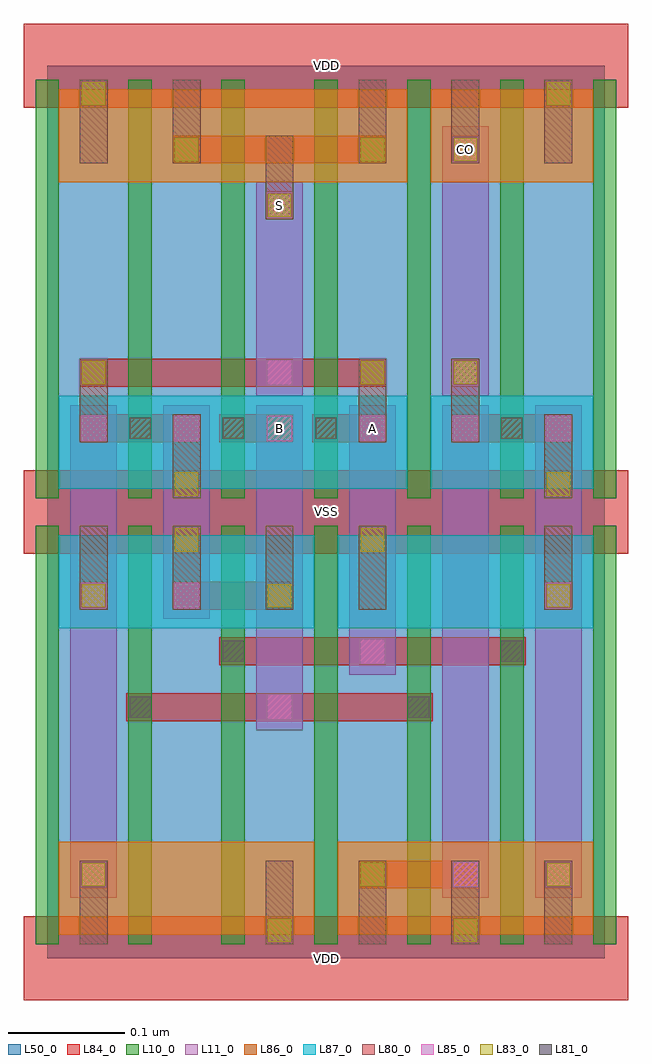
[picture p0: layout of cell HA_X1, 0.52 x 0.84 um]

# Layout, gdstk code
import gdstk
lib = gdstk.Library(unit=1e-6, precision=1e-09)
def R(c, l, rs):  # rectangles x0, y0, x1, y1
    for r in rs: c.add(gdstk.rectangle(r[:2], r[2:], *l))
def A(c, l, x, y, w, h, nx, ny, dx, dy):  # array of equal rectangles
    R(c, l, [(x+i*dx, y+j*dy, x+i*dx+w, y+j*dy+h) for i in range(nx) for j in range(ny)])
L10_0 = (10, 0)
L11_0 = (11, 0)
L50_0 = (50, 0)
L80_0 = (80, 0)
L81_0 = (81, 0)
L83_0 = (83, 0)
L84_0 = (84, 0)
L85_0 = (85, 0)
L86_0 = (86, 0)
L87_0 = (87, 0)

ha_x1 = lib.new_cell('HA_X1')
A(ha_x1, L10_0, -0.01, 0.012, 0.02, 0.36, 7, 2, 0.08, 0.384)
R(ha_x1, L11_0, [(0.02,0.052,0.06,0.476), (0.34,0.052,0.38,0.476), (0.42,0.052,0.46,0.476), (0.18,0.196,0.22,0.476), (0.26,0.244,0.3,0.476), (0.1,0.292,0.14,0.476), (0.18,0.484,0.22,0.668), (0.34,0.484,0.38,0.716)])
R(ha_x1, L50_0, [(0,0,0.48,0.768)])
A(ha_x1, L80_0, 0.188, 0.012, 0.024, 0.072, 4, 1, 0.08, 0)
A(ha_x1, L80_0, 0.028, 0.3, 0.024, 0.072, 4, 1, 0.08, 0)
A(ha_x1, L80_0, 0.268, 0.684, 0.024, 0.072, 3, 1, 0.08, 0)
R(ha_x1, L80_0, [(0.028,0.012,0.052,0.084), (0.428,0.3,0.452,0.372), (0.108,0.396,0.132,0.468), (0.428,0.396,0.452,0.468), (0.028,0.444,0.052,0.516), (0.268,0.444,0.292,0.516), (0.348,0.444,0.372,0.516), (0.188,0.636,0.212,0.708), (0.028,0.684,0.052,0.756), (0.108,0.684,0.132,0.756)])
A(ha_x1, L81_0, 0.071, 0.447, 0.018, 0.018, 3, 1, 0.08, 0)
R(ha_x1, L81_0, [(0.071,0.207,0.089,0.225), (0.311,0.207,0.329,0.225), (0.151,0.255,0.169,0.273), (0.391,0.255,0.409,0.273), (0.391,0.447,0.409,0.465)])
R(ha_x1, L83_0, [(0.19,0.014,0.21,0.034), (0.35,0.014,0.37,0.034), (0.03,0.062,0.05,0.082), (0.27,0.062,0.29,0.082), (0.43,0.062,0.45,0.082), (0.03,0.302,0.05,0.322), (0.19,0.302,0.21,0.322), (0.43,0.302,0.45,0.322), (0.11,0.35,0.13,0.37), (0.27,0.35,0.29,0.37), (0.11,0.398,0.13,0.418), (0.43,0.398,0.45,0.418), (0.03,0.494,0.05,0.514), (0.27,0.494,0.29,0.514), (0.35,0.494,0.37,0.514), (0.19,0.638,0.21,0.658), (0.11,0.686,0.13,0.706), (0.27,0.686,0.29,0.706), (0.35,0.686,0.37,0.706), (0.03,0.734,0.05,0.754), (0.43,0.734,0.45,0.754)])
A(ha_x1, L84_0, -0.02, -0.036, 0.52, 0.072, 1, 3, 0, 0.384)
R(ha_x1, L84_0, [(0.028,0.06,0.052,0.084), (0.268,0.06,0.372,0.084), (0.428,0.06,0.452,0.084), (0.068,0.204,0.332,0.228), (0.148,0.252,0.412,0.276), (0.028,0.3,0.052,0.324), (0.108,0.3,0.212,0.324), (0.428,0.3,0.452,0.324), (0.028,0.444,0.132,0.468), (0.148,0.444,0.212,0.468), (0.228,0.444,0.292,0.468), (0.348,0.444,0.452,0.468), (0.028,0.492,0.292,0.516), (0.348,0.492,0.372,0.516), (0.188,0.636,0.212,0.66), (0.108,0.684,0.292,0.708), (0.348,0.684,0.372,0.708)])
A(ha_x1, L85_0, 0.029, 0.445, 0.022, 0.022, 6, 1, 0.08, 0)
R(ha_x1, L85_0, [(0.029,0.061,0.051,0.083), (0.349,0.061,0.371,0.083), (0.429,0.061,0.451,0.083), (0.189,0.205,0.211,0.227), (0.269,0.253,0.291,0.275), (0.029,0.301,0.051,0.323), (0.109,0.301,0.131,0.323), (0.429,0.301,0.451,0.323), (0.189,0.493,0.211,0.515), (0.349,0.493,0.371,0.515), (0.189,0.637,0.211,0.659), (0.349,0.685,0.371,0.707)])
R(ha_x1, L86_0, [(0.01,0.02,0.23,0.1), (0.25,0.02,0.47,0.1), (0.01,0.668,0.31,0.748), (0.33,0.668,0.47,0.748)])
R(ha_x1, L87_0, [(0.01,0.284,0.23,0.364), (0.25,0.284,0.47,0.364), (0.01,0.404,0.31,0.484), (0.33,0.404,0.47,0.484)])
ha_x1.add(gdstk.Label('VDD', (0.24,0.768), layer=88, texttype=0))
ha_x1.add(gdstk.Label('VDD', (0.24,0), layer=88, texttype=0))
ha_x1.add(gdstk.Label('VSS', (0.24,0.384), layer=88, texttype=0))
ha_x1.add(gdstk.Label('A', (0.28,0.456), layer=31, texttype=0))
ha_x1.add(gdstk.Label('B', (0.2,0.456), layer=31, texttype=0))
ha_x1.add(gdstk.Label('S', (0.2,0.648), layer=31, texttype=0))
ha_x1.add(gdstk.Label('CO', (0.36,0.696), layer=31, texttype=0))

lib.write_gds('HA_X1.gds')
